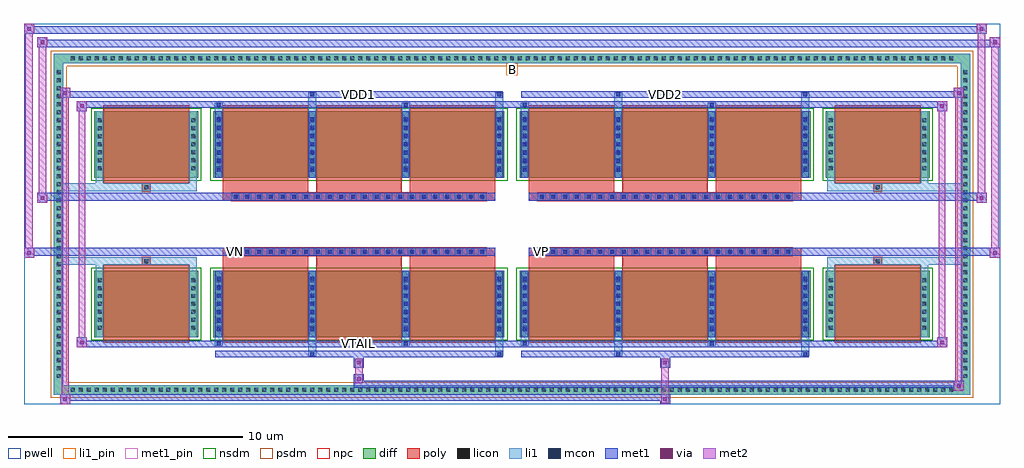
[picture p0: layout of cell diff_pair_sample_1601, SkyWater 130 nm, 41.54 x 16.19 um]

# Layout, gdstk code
import gdstk
lib = gdstk.Library(unit=1e-6, precision=5e-09)
def R(c, l, rs):  # rectangles x0, y0, x1, y1
    for r in rs: c.add(gdstk.rectangle(r[:2], r[2:], *l))
def A(c, l, x, y, w, h, nx, ny, dx, dy):  # array of equal rectangles
    R(c, l, [(x+i*dx, y+j*dy, x+i*dx+w, y+j*dy+h) for i in range(nx) for j in range(ny)])
def P(c, l, *ps):  # polygons
    for p in ps: c.add(gdstk.Polygon(p, *l))
pwell = (64, 44)
diff = (65, 20)
poly = (66, 20)
licon = (66, 44)
li1_pin = (67, 16)
li1 = (67, 20)
mcon = (67, 44)
met1_pin = (68, 16)
met1 = (68, 20)
via = (68, 44)
met2 = (69, 20)
nsdm = (93, 44)
psdm = (94, 20)
npc = (95, 20)

diff_pair_sample_1601 = lib.new_cell('diff_pair_sample_1601')
R(diff_pair_sample_1601, pwell, [(-20.77,-7.66,20.77,8.53), (-18.09,-5.85,-0.01,-0.805), (0.01,-5.85,18.09,-0.805), (-18.09,0.805,-0.01,5.85), (0.01,0.805,18.09,5.85)])
A(diff_pair_sample_1601, diff, -18.905, -7.26, 0.41, 0.41, 111, 2, 0.34, 14.11)
A(diff_pair_sample_1601, diff, -19.5, -6.665, 0.41, 0.41, 1, 39, 0, 0.34)
A(diff_pair_sample_1601, diff, 19.09, -6.665, 0.41, 0.41, 1, 39, 0, 0.34)
R(diff_pair_sample_1601, diff, [(-18.905,-7.26,18.905,-6.85), (-19.5,-6.665,-19.09,6.665), (19.09,-6.665,19.5,6.665), (-17.78,-4.805,-13.35,-1.985), (-12.71,-4.805,-0.32,-1.985), (0.32,-4.805,12.71,-1.985), (13.35,-4.805,17.78,-1.985), (-17.78,1.985,-13.35,4.805), (-12.71,1.985,-0.32,4.805), (0.32,1.985,12.71,4.805), (13.35,1.985,17.78,4.805), (-18.905,6.85,18.905,7.26)])
P(diff_pair_sample_1601, diff, [(19.5,7.26),(-19.5,7.26),(-19.5,-6.85),(-19.09,-6.85),(-19.09,6.85),(19.09,6.85),(19.09,-6.85),(-19.09,-6.85),(-19.5,-6.85),(-19.5,-7.26),(19.5,-7.26)])
A(diff_pair_sample_1601, poly, -12.32, -5.055, 3.65, 3.32, 3, 2, 3.98, 6.79)
A(diff_pair_sample_1601, poly, 0.71, -5.055, 3.65, 3.32, 3, 2, 3.98, 6.79)
A(diff_pair_sample_1601, poly, -12.32, -1.735, 3.65, 0.4, 3, 2, 3.98, 3.07)
A(diff_pair_sample_1601, poly, 0.71, -1.735, 3.65, 0.4, 3, 2, 3.98, 3.07)
A(diff_pair_sample_1601, poly, -11.93, -1.335, 0.33, 0.33, 22, 2, 0.5, 2.34)
A(diff_pair_sample_1601, poly, 1.1, -1.335, 0.33, 0.33, 22, 2, 0.5, 2.34)
R(diff_pair_sample_1601, poly, [(-17.39,-5.055,-13.74,-1.735), (13.74,-5.055,17.39,-1.735), (-15.73,-1.735,-15.4,-1.405), (-15.73,-1.735,-15.4,-1.405), (15.4,-1.735,15.73,-1.405), (15.4,-1.735,15.73,-1.405), (-12.32,-1.335,-0.71,-1.005), (0.71,-1.335,12.32,-1.005), (-12.32,1.005,-0.71,1.335), (0.71,1.005,12.32,1.335), (-15.73,1.405,-15.4,1.735), (-15.73,1.405,-15.4,1.735), (15.4,1.405,15.73,1.735), (15.4,1.405,15.73,1.735), (-17.39,1.735,-13.74,5.055), (13.74,1.735,17.39,5.055)])
A(diff_pair_sample_1601, licon, -18.785, -7.14, 0.17, 0.17, 111, 2, 0.34, 14.11)
A(diff_pair_sample_1601, licon, -19.38, -6.545, 0.17, 0.17, 1, 39, 0, 0.34)
A(diff_pair_sample_1601, licon, 19.21, -6.545, 0.17, 0.17, 1, 39, 0, 0.34)
A(diff_pair_sample_1601, licon, -17.64, -4.5, 0.17, 0.17, 1, 7, 0, 0.34)
A(diff_pair_sample_1601, licon, -13.66, -4.5, 0.17, 0.17, 1, 7, 0, 0.34)
A(diff_pair_sample_1601, licon, -12.57, -4.5, 0.17, 0.17, 4, 7, 3.98, 0.34)
A(diff_pair_sample_1601, licon, 0.46, -4.5, 0.17, 0.17, 4, 7, 3.98, 0.34)
A(diff_pair_sample_1601, licon, 13.49, -4.5, 0.17, 0.17, 1, 7, 0, 0.34)
A(diff_pair_sample_1601, licon, 17.47, -4.5, 0.17, 0.17, 1, 7, 0, 0.34)
A(diff_pair_sample_1601, licon, -11.85, -1.255, 0.17, 0.17, 22, 2, 0.5, 2.34)
A(diff_pair_sample_1601, licon, 1.18, -1.255, 0.17, 0.17, 22, 2, 0.5, 2.34)
A(diff_pair_sample_1601, licon, -17.64, 2.29, 0.17, 0.17, 1, 7, 0, 0.34)
A(diff_pair_sample_1601, licon, -13.66, 2.29, 0.17, 0.17, 1, 7, 0, 0.34)
A(diff_pair_sample_1601, licon, -12.57, 2.29, 0.17, 0.17, 4, 7, 3.98, 0.34)
A(diff_pair_sample_1601, licon, 0.46, 2.29, 0.17, 0.17, 4, 7, 3.98, 0.34)
A(diff_pair_sample_1601, licon, 13.49, 2.29, 0.17, 0.17, 1, 7, 0, 0.34)
A(diff_pair_sample_1601, licon, 17.47, 2.29, 0.17, 0.17, 1, 7, 0, 0.34)
R(diff_pair_sample_1601, licon, [(-15.65,-1.655,-15.48,-1.485), (15.48,-1.655,15.65,-1.485), (-15.65,1.485,-15.48,1.655), (15.48,1.485,15.65,1.655)])
R(diff_pair_sample_1601, li1_pin, [(-0.25,6.35,0.25,6.85)])
A(diff_pair_sample_1601, li1, -18.865, -7.22, 0.33, 0.33, 111, 2, 0.34, 14.11)
A(diff_pair_sample_1601, li1, -19.46, -6.625, 0.33, 0.33, 1, 39, 0, 0.34)
A(diff_pair_sample_1601, li1, 19.13, -6.625, 0.33, 0.33, 1, 39, 0, 0.34)
A(diff_pair_sample_1601, li1, -12.65, -4.805, 0.33, 2.82, 4, 2, 3.98, 6.79)
A(diff_pair_sample_1601, li1, 0.38, -4.805, 0.33, 2.82, 4, 2, 3.98, 6.79)
A(diff_pair_sample_1601, li1, -17.72, -4.58, 0.33, 0.33, 1, 7, 0, 0.34)
A(diff_pair_sample_1601, li1, -13.74, -4.58, 0.33, 0.33, 1, 7, 0, 0.34)
A(diff_pair_sample_1601, li1, -12.65, -4.58, 0.33, 0.33, 4, 7, 3.98, 0.34)
A(diff_pair_sample_1601, li1, 0.38, -4.58, 0.33, 0.33, 4, 7, 3.98, 0.34)
A(diff_pair_sample_1601, li1, 13.41, -4.58, 0.33, 0.33, 1, 7, 0, 0.34)
A(diff_pair_sample_1601, li1, 17.39, -4.58, 0.33, 0.33, 1, 7, 0, 0.34)
A(diff_pair_sample_1601, li1, -12.57, -4.56, 0.17, 0.17, 4, 7, 3.98, 0.36)
A(diff_pair_sample_1601, li1, -12.57, -4.56, 0.17, 2.33, 4, 2, 3.98, 6.79)
A(diff_pair_sample_1601, li1, 0.46, -4.56, 0.17, 0.17, 4, 7, 3.98, 0.36)
A(diff_pair_sample_1601, li1, 0.46, -4.56, 0.17, 2.33, 4, 2, 3.98, 6.79)
A(diff_pair_sample_1601, li1, -11.93, -1.335, 0.33, 0.33, 22, 2, 0.5, 2.34)
A(diff_pair_sample_1601, li1, 1.1, -1.335, 0.33, 0.33, 22, 2, 0.5, 2.34)
A(diff_pair_sample_1601, li1, -17.72, 2.21, 0.33, 0.33, 1, 7, 0, 0.34)
A(diff_pair_sample_1601, li1, -13.74, 2.21, 0.33, 0.33, 1, 7, 0, 0.34)
A(diff_pair_sample_1601, li1, -12.65, 2.21, 0.33, 0.33, 4, 7, 3.98, 0.34)
A(diff_pair_sample_1601, li1, 0.38, 2.21, 0.33, 0.33, 4, 7, 3.98, 0.34)
A(diff_pair_sample_1601, li1, 13.41, 2.21, 0.33, 0.33, 1, 7, 0, 0.34)
A(diff_pair_sample_1601, li1, 17.39, 2.21, 0.33, 0.33, 1, 7, 0, 0.34)
A(diff_pair_sample_1601, li1, -12.57, 2.23, 0.17, 0.17, 4, 7, 3.98, 0.36)
A(diff_pair_sample_1601, li1, 0.46, 2.23, 0.17, 0.17, 4, 7, 3.98, 0.36)
R(diff_pair_sample_1601, li1, [(-19.5,-7.26,-19.09,-6.85), (-19.5,-7.26,-19.09,-6.85), (-19.09,-7.26,19.09,-6.85), (19.09,-7.26,19.5,-6.85), (19.09,-7.26,19.5,-6.85), (-19.5,-6.85,-19.09,6.85), (19.09,-6.85,19.5,6.85), (-8.67,-5.61,-8.34,-4.805), (-8.59,-5.61,-8.42,-5.44), (-0.71,-5.61,-0.38,-4.805), (-0.63,-5.61,-0.46,-5.44), (4.36,-5.61,4.69,-4.805), (4.44,-5.61,4.61,-5.44), (12.32,-5.61,12.65,-4.805), (12.4,-5.61,12.57,-5.44), (-12.65,-5.18,-12.32,-4.805), (-12.57,-5.18,-12.4,-5.01), (-4.69,-5.18,-4.36,-4.805), (-4.61,-5.18,-4.44,-5.01), (0.38,-5.18,0.71,-4.805), (0.46,-5.18,0.63,-5.01), (8.34,-5.18,8.67,-4.805), (8.42,-5.18,8.59,-5.01), (-17.72,-4.805,-17.39,-1.985), (-13.74,-4.805,-13.41,-1.985), (13.41,-4.805,13.74,-1.985), (17.39,-4.805,17.72,-1.985), (-17.72,-1.985,-17.39,-1.405), (-13.74,-1.985,-13.41,-1.405), (13.41,-1.985,13.74,-1.405), (17.39,-1.985,17.72,-1.405), (-19.5,-1.735,-15.73,-1.405), (-17.72,-1.735,-15.73,-1.405), (-15.73,-1.735,-15.4,-1.405), (-15.4,-1.735,-13.41,-1.405), (13.41,-1.735,15.4,-1.405), (15.4,-1.735,15.73,-1.405), (15.4,-1.735,19.5,-1.405), (15.73,-1.735,17.72,-1.405), (-19.5,1.405,-15.73,1.735), (-17.72,1.405,-15.73,1.735), (-17.72,1.405,-17.39,1.985), (-15.73,1.405,-15.4,1.735), (-15.4,1.405,-13.41,1.735), (-13.74,1.405,-13.41,1.985), (13.41,1.405,15.4,1.735), (13.41,1.405,13.74,1.985), (15.4,1.405,15.73,1.735), (15.4,1.405,19.5,1.735), (15.73,1.405,17.72,1.735), (17.39,1.405,17.72,1.985), (-17.72,1.985,-17.39,4.805), (-13.74,1.985,-13.41,4.805), (13.41,1.985,13.74,4.805), (17.39,1.985,17.72,4.805), (-12.65,4.805,-12.32,5.18), (-8.67,4.805,-8.34,5.61), (-4.69,4.805,-4.36,5.18), (-0.71,4.805,-0.38,5.61), (0.38,4.805,0.71,5.18), (4.36,4.805,4.69,5.61), (8.34,4.805,8.67,5.18), (12.32,4.805,12.65,5.61), (-12.57,5.01,-12.4,5.18), (-4.61,5.01,-4.44,5.18), (0.46,5.01,0.63,5.18), (8.42,5.01,8.59,5.18), (-8.59,5.44,-8.42,5.61), (-0.63,5.44,-0.46,5.61), (4.44,5.44,4.61,5.61), (12.4,5.44,12.57,5.61), (-19.5,6.85,-19.09,7.26), (-19.5,6.85,-19.09,7.26), (-19.09,6.85,19.09,7.26), (19.09,6.85,19.5,7.26), (19.09,6.85,19.5,7.26)])
A(diff_pair_sample_1601, mcon, -12.57, -4.56, 0.17, 0.17, 4, 7, 3.98, 0.36)
A(diff_pair_sample_1601, mcon, 0.46, -4.56, 0.17, 0.17, 4, 7, 3.98, 0.36)
A(diff_pair_sample_1601, mcon, -11.85, -1.255, 0.17, 0.17, 22, 2, 0.5, 2.34)
A(diff_pair_sample_1601, mcon, 1.18, -1.255, 0.17, 0.17, 22, 2, 0.5, 2.34)
A(diff_pair_sample_1601, mcon, -12.57, 2.23, 0.17, 0.17, 4, 7, 3.98, 0.36)
A(diff_pair_sample_1601, mcon, 0.46, 2.23, 0.17, 0.17, 4, 7, 3.98, 0.36)
R(diff_pair_sample_1601, mcon, [(-8.59,-5.61,-8.42,-5.44), (-0.63,-5.61,-0.46,-5.44), (4.44,-5.61,4.61,-5.44), (12.4,-5.61,12.57,-5.44), (-12.57,-5.18,-12.4,-5.01), (-4.61,-5.18,-4.44,-5.01), (0.46,-5.18,0.63,-5.01), (8.42,-5.18,8.59,-5.01), (-12.57,5.01,-12.4,5.18), (-4.61,5.01,-4.44,5.18), (0.46,5.01,0.63,5.18), (8.42,5.01,8.59,5.18), (-8.59,5.44,-8.42,5.61), (-0.63,5.44,-0.46,5.61), (4.44,5.44,4.61,5.61), (12.4,5.44,12.57,5.61)])
R(diff_pair_sample_1601, met1_pin, [(-6.65,-5.22,-6.38,-4.95), (-11.9,-1.295,-11.63,-1.025), (1.13,-1.295,1.4,-1.025), (-6.65,5.4,-6.38,5.67), (6.38,5.4,6.65,5.67)])
A(diff_pair_sample_1601, met1, -12.63, -4.805, 0.29, 2.82, 4, 2, 3.98, 6.79)
A(diff_pair_sample_1601, met1, 0.4, -4.805, 0.29, 2.82, 4, 2, 3.98, 6.79)
A(diff_pair_sample_1601, met1, -12.63, -4.62, 0.29, 0.29, 4, 7, 3.98, 0.36)
A(diff_pair_sample_1601, met1, 0.4, -4.62, 0.29, 0.29, 4, 7, 3.98, 0.36)
A(diff_pair_sample_1601, met1, -11.91, -1.315, 0.29, 0.29, 22, 2, 0.5, 2.34)
A(diff_pair_sample_1601, met1, 1.12, -1.315, 0.29, 0.29, 22, 2, 0.5, 2.34)
A(diff_pair_sample_1601, met1, -12.63, 2.17, 0.29, 0.29, 4, 7, 3.98, 0.36)
A(diff_pair_sample_1601, met1, 0.4, 2.17, 0.29, 0.29, 4, 7, 3.98, 0.36)
R(diff_pair_sample_1601, met1, [(-19.23,-7.66,-18.8,-7.23), (6.3,-7.66,6.73,-7.23), (-19.23,-7.52,6.73,-7.23), (18.8,-7.09,19.23,-6.66), (-6.73,-6.95,19.23,-6.66), (-6.73,-6.81,-6.3,-6.38), (-6.73,-6.1,-6.3,-5.67), (6.3,-6.1,6.73,-5.67), (-12.63,-5.67,-0.4,-5.38), (-8.65,-5.67,-8.36,-5.38), (-0.69,-5.67,-0.4,-5.38), (0.4,-5.67,12.63,-5.38), (4.38,-5.67,4.67,-5.38), (12.34,-5.67,12.63,-5.38), (-18.52,-5.24,-18.09,-4.81), (-18.52,-5.24,-12.63,-4.95), (-12.63,-5.24,-12.34,-4.95), (-12.63,-5.24,-0.4,-4.95), (-4.67,-5.24,-4.38,-4.95), (-0.4,-5.24,0.4,-4.95), (0.4,-5.24,0.69,-4.95), (0.4,-5.24,12.63,-4.95), (8.36,-5.24,8.65,-4.95), (12.63,-5.24,18.52,-4.95), (18.09,-5.24,18.52,-4.81), (-20.77,-1.435,-20.34,-1.005), (20.34,-1.435,20.77,-1.005), (-20.77,-1.335,-0.71,-1.005), (-12.32,-1.335,-0.71,-1.005), (0.71,-1.335,12.32,-1.005), (0.71,-1.335,20.77,-1.005), (-20.2,0.905,-19.77,1.335), (19.77,0.905,20.2,1.335), (-20.2,1.005,-12.32,1.335), (-12.32,1.005,-0.71,1.335), (0.71,1.005,12.32,1.335), (12.32,1.005,20.2,1.335), (-18.52,4.81,-18.09,5.24), (18.09,4.81,18.52,5.24), (-18.52,4.95,-12.63,5.24), (-12.63,4.95,-12.34,5.24), (-12.63,4.95,-0.4,5.24), (-4.67,4.95,-4.38,5.24), (-0.4,4.95,0.4,5.24), (0.4,4.95,0.69,5.24), (0.4,4.95,12.63,5.24), (8.36,4.95,8.65,5.24), (12.63,4.95,18.52,5.24), (-19.23,5.38,-18.8,5.81), (-19.23,5.38,-12.63,5.67), (-12.63,5.38,-0.4,5.67), (-8.65,5.38,-8.36,5.67), (-0.69,5.38,-0.4,5.67), (0.4,5.38,12.63,5.67), (4.38,5.38,4.67,5.67), (12.34,5.38,12.63,5.67), (12.63,5.38,19.23,5.67), (18.8,5.38,19.23,5.81), (-20.2,7.53,-19.77,7.96), (-20.2,7.53,-18.09,7.86), (-18.09,7.53,18.09,7.86), (18.09,7.53,20.77,7.86), (20.34,7.53,20.77,7.96), (-20.77,8.1,-20.34,8.53), (-20.77,8.1,-18.09,8.43), (-18.09,8.1,18.09,8.43), (18.09,8.1,20.2,8.43), (19.77,8.1,20.2,8.53)])
R(diff_pair_sample_1601, via, [(-19.09,-7.52,-18.94,-7.37), (6.44,-7.52,6.59,-7.37), (18.94,-6.95,19.09,-6.8), (-6.59,-6.67,-6.44,-6.52), (-6.59,-5.96,-6.44,-5.81), (6.44,-5.96,6.59,-5.81), (-18.38,-5.1,-18.23,-4.95), (18.23,-5.1,18.38,-4.95), (-20.63,-1.295,-20.48,-1.145), (20.48,-1.295,20.63,-1.145), (-20.06,1.045,-19.91,1.195), (19.91,1.045,20.06,1.195), (-18.38,4.95,-18.23,5.1), (18.23,4.95,18.38,5.1), (-19.09,5.52,-18.94,5.67), (18.94,5.52,19.09,5.67), (-20.06,7.67,-19.91,7.82), (20.48,7.67,20.63,7.82), (-20.63,8.24,-20.48,8.39), (19.91,8.24,20.06,8.39)])
R(diff_pair_sample_1601, met2, [(-19.23,-7.66,-18.8,-7.23), (-19.16,-7.66,-18.87,5.81), (-18.87,-7.66,-18.8,-7.23), (-19.18,-7.61,-18.85,-7.28), (6.35,-7.61,6.68,-7.28), (6.35,-7.28,6.68,-6.05), (18.8,-7.09,19.23,-6.66), (18.87,-7.09,19.16,5.81), (19.16,-7.09,19.23,-6.66), (18.85,-7.04,19.18,-6.71), (-6.68,-6.76,-6.35,-6.43), (-6.68,-6.43,-6.35,-6.05), (-6.68,-6.05,-6.35,-5.72), (6.35,-6.05,6.68,-5.72), (-18.52,-5.24,-18.09,-4.81), (-18.45,-5.24,-18.16,5.24), (-18.16,-5.24,-18.09,-4.81), (18.09,-5.24,18.52,-4.81), (18.16,-5.24,18.45,5.24), (18.45,-5.24,18.52,-4.81), (-18.47,-5.19,-18.14,-4.86), (18.14,-5.19,18.47,-4.86), (-20.77,-1.435,-20.34,-1.005), (-20.72,-1.435,-20.39,8.53), (-20.39,-1.435,-20.34,-1.005), (20.34,-1.435,20.77,-1.005), (20.39,-1.435,20.72,7.96), (20.72,-1.435,20.77,-1.005), (-20.72,-1.385,-20.39,-1.055), (20.39,-1.385,20.72,-1.055), (-20.2,0.905,-19.77,1.335), (-20.15,0.905,-19.82,7.96), (-19.82,0.905,-19.77,1.335), (19.77,0.905,20.2,1.335), (19.82,0.905,20.15,8.53), (20.15,0.905,20.2,1.335), (-20.15,0.955,-19.82,1.285), (19.82,0.955,20.15,1.285), (-18.52,4.81,-18.09,5.24), (-18.16,4.81,-18.09,5.24), (18.09,4.81,18.52,5.24), (18.45,4.81,18.52,5.24), (-18.47,4.86,-18.14,5.19), (18.14,4.86,18.47,5.19), (-19.23,5.38,-18.8,5.81), (-18.87,5.38,-18.8,5.81), (18.8,5.38,19.23,5.81), (19.16,5.38,19.23,5.81), (-19.18,5.43,-18.85,5.76), (18.85,5.43,19.18,5.76), (-20.2,7.53,-19.77,7.96), (-19.82,7.53,-19.77,7.96), (20.34,7.53,20.77,7.96), (20.72,7.53,20.77,7.96), (-20.15,7.58,-19.82,7.91), (20.39,7.58,20.72,7.91), (-20.77,8.1,-20.34,8.53), (-20.39,8.1,-20.34,8.53), (19.77,8.1,20.2,8.53), (20.15,8.1,20.2,8.53), (-20.72,8.15,-20.39,8.48), (19.82,8.15,20.15,8.48)])
R(diff_pair_sample_1601, nsdm, [(-17.91,-4.935,-13.22,-1.855), (-12.84,-4.935,-0.19,-1.855), (0.19,-4.935,12.84,-1.855), (13.22,-4.935,17.91,-1.855), (-17.91,1.855,-13.22,4.935), (-12.84,1.855,-0.19,4.935), (0.19,1.855,12.84,4.935), (13.22,1.855,17.91,4.935)])
P(diff_pair_sample_1601, psdm, [(19.63,7.39),(-19.63,7.39),(-19.63,-6.72),(-18.96,-6.72),(-18.96,6.72),(18.96,6.72),(18.96,-6.72),(-18.96,-6.72),(-19.63,-6.72),(-19.63,-7.39),(19.63,-7.39)])
A(diff_pair_sample_1601, npc, -11.95, -1.355, 0.37, 0.37, 22, 2, 0.5, 2.34)
A(diff_pair_sample_1601, npc, 1.08, -1.355, 0.37, 0.37, 22, 2, 0.5, 2.34)
R(diff_pair_sample_1601, npc, [(-15.75,-1.755,-15.38,-1.385), (15.38,-1.755,15.75,-1.385), (-11.95,-1.355,-11.08,-0.985), (-11.95,-1.355,-11.08,-0.985), (-11.45,-1.355,-10.58,-0.985), (-11.45,-1.355,-10.58,-0.985), (-10.95,-1.355,-10.08,-0.985), (-10.95,-1.355,-10.08,-0.985), (-10.45,-1.355,-9.58,-0.985), (-10.45,-1.355,-9.58,-0.985), (-9.95,-1.355,-9.08,-0.985), (-9.95,-1.355,-9.08,-0.985), (-9.45,-1.355,-8.58,-0.985), (-9.45,-1.355,-8.58,-0.985), (-8.95,-1.355,-8.08,-0.985), (-8.95,-1.355,-8.08,-0.985), (-8.45,-1.355,-7.58,-0.985), (-8.45,-1.355,-7.58,-0.985), (-7.95,-1.355,-7.08,-0.985), (-7.95,-1.355,-7.08,-0.985), (-7.45,-1.355,-6.58,-0.985), (-7.45,-1.355,-6.58,-0.985), (-6.95,-1.355,-6.08,-0.985), (-6.95,-1.355,-6.08,-0.985), (-6.45,-1.355,-5.58,-0.985), (-6.45,-1.355,-5.58,-0.985), (-5.95,-1.355,-5.08,-0.985), (-5.95,-1.355,-5.08,-0.985), (-5.45,-1.355,-4.58,-0.985), (-5.45,-1.355,-4.58,-0.985), (-4.95,-1.355,-4.08,-0.985), (-4.95,-1.355,-4.08,-0.985), (-4.45,-1.355,-3.58,-0.985), (-4.45,-1.355,-3.58,-0.985), (-3.95,-1.355,-3.08,-0.985), (-3.95,-1.355,-3.08,-0.985), (-3.45,-1.355,-2.58,-0.985), (-3.45,-1.355,-2.58,-0.985), (-2.95,-1.355,-2.08,-0.985), (-2.95,-1.355,-2.08,-0.985), (-2.45,-1.355,-1.58,-0.985), (-2.45,-1.355,-1.58,-0.985), (-1.95,-1.355,-1.08,-0.985), (-1.95,-1.355,-1.08,-0.985), (1.08,-1.355,1.95,-0.985), (1.08,-1.355,1.95,-0.985), (1.58,-1.355,2.45,-0.985), (1.58,-1.355,2.45,-0.985), (2.08,-1.355,2.95,-0.985), (2.08,-1.355,2.95,-0.985), (2.58,-1.355,3.45,-0.985), (2.58,-1.355,3.45,-0.985), (3.08,-1.355,3.95,-0.985), (3.08,-1.355,3.95,-0.985), (3.58,-1.355,4.45,-0.985), (3.58,-1.355,4.45,-0.985), (4.08,-1.355,4.95,-0.985), (4.08,-1.355,4.95,-0.985), (4.58,-1.355,5.45,-0.985), (4.58,-1.355,5.45,-0.985), (5.08,-1.355,5.95,-0.985), (5.08,-1.355,5.95,-0.985), (5.58,-1.355,6.45,-0.985), (5.58,-1.355,6.45,-0.985), (6.08,-1.355,6.95,-0.985), (6.08,-1.355,6.95,-0.985), (6.58,-1.355,7.45,-0.985), (6.58,-1.355,7.45,-0.985), (7.08,-1.355,7.95,-0.985), (7.08,-1.355,7.95,-0.985), (7.58,-1.355,8.45,-0.985), (7.58,-1.355,8.45,-0.985), (8.08,-1.355,8.95,-0.985), (8.08,-1.355,8.95,-0.985), (8.58,-1.355,9.45,-0.985), (8.58,-1.355,9.45,-0.985), (9.08,-1.355,9.95,-0.985), (9.08,-1.355,9.95,-0.985), (9.58,-1.355,10.45,-0.985), (9.58,-1.355,10.45,-0.985), (10.08,-1.355,10.95,-0.985), (10.08,-1.355,10.95,-0.985), (10.58,-1.355,11.45,-0.985), (10.58,-1.355,11.45,-0.985), (11.08,-1.355,11.95,-0.985), (11.08,-1.355,11.95,-0.985), (-11.95,0.985,-11.08,1.355), (-11.95,0.985,-11.08,1.355), (-11.45,0.985,-10.58,1.355), (-11.45,0.985,-10.58,1.355), (-10.95,0.985,-10.08,1.355), (-10.95,0.985,-10.08,1.355), (-10.45,0.985,-9.58,1.355), (-10.45,0.985,-9.58,1.355), (-9.95,0.985,-9.08,1.355), (-9.95,0.985,-9.08,1.355), (-9.45,0.985,-8.58,1.355), (-9.45,0.985,-8.58,1.355), (-8.95,0.985,-8.08,1.355), (-8.95,0.985,-8.08,1.355), (-8.45,0.985,-7.58,1.355), (-8.45,0.985,-7.58,1.355), (-7.95,0.985,-7.08,1.355), (-7.95,0.985,-7.08,1.355), (-7.45,0.985,-6.58,1.355), (-7.45,0.985,-6.58,1.355), (-6.95,0.985,-6.08,1.355), (-6.95,0.985,-6.08,1.355), (-6.45,0.985,-5.58,1.355), (-6.45,0.985,-5.58,1.355), (-5.95,0.985,-5.08,1.355), (-5.95,0.985,-5.08,1.355), (-5.45,0.985,-4.58,1.355), (-5.45,0.985,-4.58,1.355), (-4.95,0.985,-4.08,1.355), (-4.95,0.985,-4.08,1.355), (-4.45,0.985,-3.58,1.355), (-4.45,0.985,-3.58,1.355), (-3.95,0.985,-3.08,1.355), (-3.95,0.985,-3.08,1.355), (-3.45,0.985,-2.58,1.355), (-3.45,0.985,-2.58,1.355), (-2.95,0.985,-2.08,1.355), (-2.95,0.985,-2.08,1.355), (-2.45,0.985,-1.58,1.355), (-2.45,0.985,-1.58,1.355), (-1.95,0.985,-1.08,1.355), (-1.95,0.985,-1.08,1.355), (1.08,0.985,1.95,1.355), (1.08,0.985,1.95,1.355), (1.58,0.985,2.45,1.355), (1.58,0.985,2.45,1.355), (2.08,0.985,2.95,1.355), (2.08,0.985,2.95,1.355), (2.58,0.985,3.45,1.355), (2.58,0.985,3.45,1.355), (3.08,0.985,3.95,1.355), (3.08,0.985,3.95,1.355), (3.58,0.985,4.45,1.355), (3.58,0.985,4.45,1.355), (4.08,0.985,4.95,1.355), (4.08,0.985,4.95,1.355), (4.58,0.985,5.45,1.355), (4.58,0.985,5.45,1.355), (5.08,0.985,5.95,1.355), (5.08,0.985,5.95,1.355), (5.58,0.985,6.45,1.355), (5.58,0.985,6.45,1.355), (6.08,0.985,6.95,1.355), (6.08,0.985,6.95,1.355), (6.58,0.985,7.45,1.355), (6.58,0.985,7.45,1.355), (7.08,0.985,7.95,1.355), (7.08,0.985,7.95,1.355), (7.58,0.985,8.45,1.355), (7.58,0.985,8.45,1.355), (8.08,0.985,8.95,1.355), (8.08,0.985,8.95,1.355), (8.58,0.985,9.45,1.355), (8.58,0.985,9.45,1.355), (9.08,0.985,9.95,1.355), (9.08,0.985,9.95,1.355), (9.58,0.985,10.45,1.355), (9.58,0.985,10.45,1.355), (10.08,0.985,10.95,1.355), (10.08,0.985,10.95,1.355), (10.58,0.985,11.45,1.355), (10.58,0.985,11.45,1.355), (11.08,0.985,11.95,1.355), (11.08,0.985,11.95,1.355), (-15.75,1.385,-15.38,1.755), (15.38,1.385,15.75,1.755)])
diff_pair_sample_1601.add(gdstk.Label('VTAIL', (-6.515,-5.085), layer=68, texttype=5))
diff_pair_sample_1601.add(gdstk.Label('VN', (-11.765,-1.16), layer=68, texttype=5))
diff_pair_sample_1601.add(gdstk.Label('VP', (1.265,-1.16), layer=68, texttype=5))
diff_pair_sample_1601.add(gdstk.Label('B', (0,6.6), layer=67, texttype=5))
diff_pair_sample_1601.add(gdstk.Label('VDD2', (6.515,5.535), layer=68, texttype=5))
diff_pair_sample_1601.add(gdstk.Label('VDD1', (-6.515,5.535), layer=68, texttype=5))

lib.write_gds('diff_pair_sample_1601.gds')
